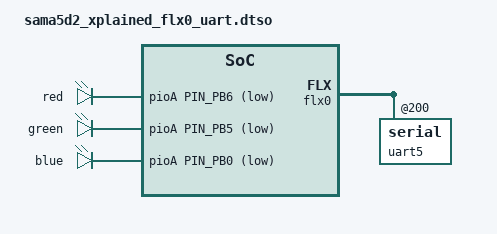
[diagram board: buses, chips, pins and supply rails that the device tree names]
// SPDX-License-Identifier: (GPL-2.0+ OR MIT)
/*
 * sama5d2_xplained_flx0_i2c.dtso - Device Tree file for SAMA5D2 Xplained board
 * overlay blob to configure Flexcom0 as UART for Modbus.
 *
 * Copyright (C) 2020 Microchip Technology Inc. and its subsidiaries
 * Author: Codrin Ciubotariu <codrin.ciubotariu@microchip.com>
 *
 */
/dts-v1/;
/plugin/;

#include <dt-bindings/mfd/atmel-flexcom.h>
#include "sama5d2-pinfunc.h"
#include <dt-bindings/gpio/gpio.h>

&isc {
	status = "disabled";
};

&flx0 {
	//atmel,flexcom-mode = <ATMEL_FLEXCOM_MODE_USART>;
	status = "okay"; /* conflict with ISC_D2 & ISC_D3 data pins */
	uart5: serial@200 {
		//pinctrl-names = "default";
		pinctrl-0 = <&pinctrl_flx0_ioset1>;
		linux,rs485-enabled-at-boot-time;
		rs485-rts-delay = <0 20>;
		//status = "okay";
	};
};

&pioA {
	pinctrl_flx0_ioset1: flx0_ioset1 {
		pinmux = <PIN_PB28__FLEXCOM0_IO0>, /* TX */
				 <PIN_PB29__FLEXCOM0_IO1>, /* RX */
				 <PIN_PB31__FLEXCOM0_IO3>, /* CTS */
				 <PIN_PC0__FLEXCOM0_IO4>;  /* RTS */
		bias-disable;
	};
};

&{/} {
	leds {
		compatible = "gpio-leds";
		pinctrl-names = "default";
		pinctrl-0 = <&pinctrl_led_gpio_default>;
		status = "okay"; /* conflict with pwm0 */

		red {
			label = "red";
			gpios = <&pioA PIN_PB6 GPIO_ACTIVE_LOW>;
		};


		green {
			label = "green";
			gpios = <&pioA PIN_PB5 GPIO_ACTIVE_LOW>;
			linux,default-trigger = "heartbeat";
		};

		blue {
			label = "blue";
			gpios = <&pioA PIN_PB0 GPIO_ACTIVE_LOW>;
			//linux,default-trigger = "heartbeat";
		};
	};
};

